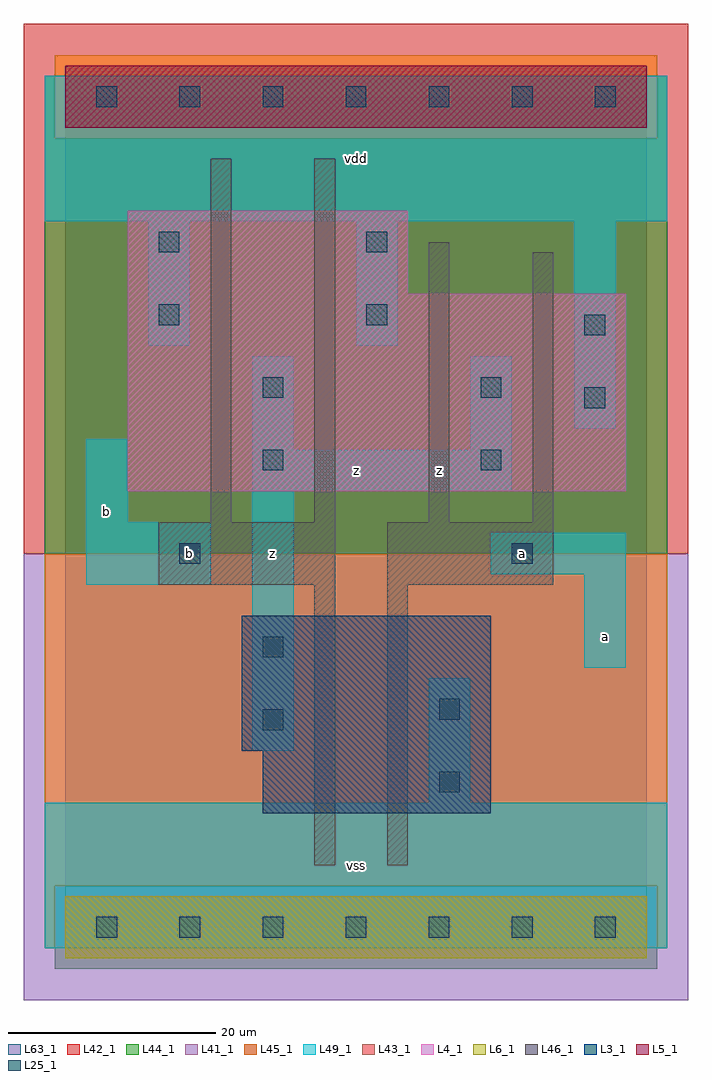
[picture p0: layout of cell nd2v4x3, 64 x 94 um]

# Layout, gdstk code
import gdstk
lib = gdstk.Library(unit=1e-6, precision=1e-09)
def R(c, l, rs):  # rectangles x0, y0, x1, y1
    for r in rs: c.add(gdstk.rectangle(r[:2], r[2:], *l))
def A(c, l, x, y, w, h, nx, ny, dx, dy):  # array of equal rectangles
    R(c, l, [(x+i*dx, y+j*dy, x+i*dx+w, y+j*dy+h) for i in range(nx) for j in range(ny)])
L3_1 = (3, 1)
L4_1 = (4, 1)
L5_1 = (5, 1)
L6_1 = (6, 1)
L25_1 = (25, 1)
L41_1 = (41, 1)
L42_1 = (42, 1)
L43_1 = (43, 1)
L44_1 = (44, 1)
L45_1 = (45, 1)
L46_1 = (46, 1)
L49_1 = (49, 1)
L63_1 = (63, 1)

nd2v4x3 = lib.new_cell('nd2v4x3')
R(nd2v4x3, L3_1, [(19,11,41,17), (17,17,41,30)])
R(nd2v4x3, L4_1, [(6,42,54,61), (6,61,33,69)])
R(nd2v4x3, L5_1, [(0,77,56,83)])
R(nd2v4x3, L6_1, [(0,-3,56,3), (0,-3,56,3)])
A(nd2v4x3, L25_1, 3, -1, 2, 2, 7, 2, 8, 80)
R(nd2v4x3, L25_1, [(36,13,38,15), (19,19,21,21), (36,20,38,22), (19,26,21,28), (11,35,13,37), (43,35,45,37), (19,44,21,46), (40,44,42,46), (50,50,52,52), (19,51,21,53), (40,51,42,53), (50,57,52,59), (9,58,11,60), (29,58,31,60), (9,65,11,67), (29,65,31,67)])
R(nd2v4x3, L41_1, [(-4,-7,60,36)])
R(nd2v4x3, L42_1, [(-4,36,60,87)])
R(nd2v4x3, L43_1, [(0,-3,56,3), (19,11,41,17), (17,17,41,30), (6,42,54,61), (6,61,33,69), (0,77,56,83)])
R(nd2v4x3, L44_1, [(-1,-4,57,4), (-2,36,58,76), (-2,76,-1,82), (57,76,58,82)])
R(nd2v4x3, L45_1, [(-2,-2,-1,4), (57,-2,58,4), (-2,4,58,36), (-1,76,57,84)])
R(nd2v4x3, L46_1, [(24,6,26,33), (31,6,33,33), (9,33,26,39), (31,33,47,39), (14,39,16,74), (24,39,26,74), (35,39,37,66), (45,39,47,65)])
R(nd2v4x3, L49_1, [(-2,-2,58,12), (35,12,39,24), (18,17,22,42), (50,25,54,34), (2,33,14,39), (41,34,54,38), (2,39,6,47), (18,42,43,46), (18,46,22,55), (39,46,43,55), (49,48,53,68), (8,56,12,68), (28,56,32,68), (-2,68,58,82)])
R(nd2v4x3, L63_1, [(0,0,56,80)])
nd2v4x3.add(gdstk.Label('b', (4,40), layer=49, texttype=1))
nd2v4x3.add(gdstk.Label('b', (12,36), layer=49, texttype=1))
nd2v4x3.add(gdstk.Label('z', (20,36), layer=49, texttype=1))
nd2v4x3.add(gdstk.Label('vss', (28,6), layer=49, texttype=1))
nd2v4x3.add(gdstk.Label('z', (36,44), layer=49, texttype=1))
nd2v4x3.add(gdstk.Label('z', (28,44), layer=49, texttype=1))
nd2v4x3.add(gdstk.Label('vdd', (28,74), layer=49, texttype=1))
nd2v4x3.add(gdstk.Label('a', (44,36), layer=49, texttype=1))
nd2v4x3.add(gdstk.Label('a', (52,28), layer=49, texttype=1))

lib.write_gds('nd2v4x3.gds')
